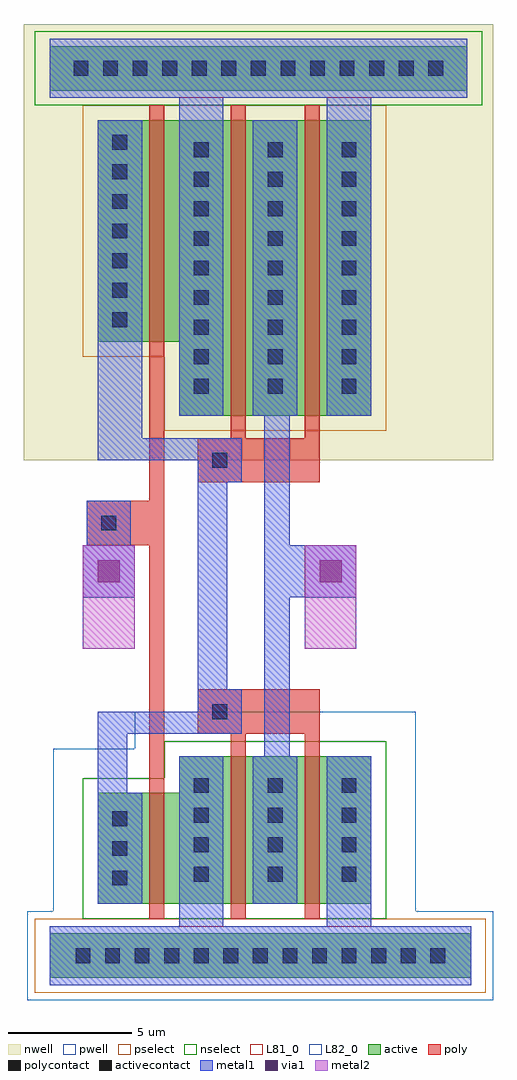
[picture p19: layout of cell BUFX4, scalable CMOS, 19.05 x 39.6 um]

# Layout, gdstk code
import gdstk
lib = gdstk.Library(unit=1e-6, precision=1e-09)
def R(c, l, rs):  # rectangles x0, y0, x1, y1
    for r in rs: c.add(gdstk.rectangle(r[:2], r[2:], *l))
def A(c, l, x, y, w, h, nx, ny, dx, dy):  # array of equal rectangles
    R(c, l, [(x+i*dx, y+j*dy, x+i*dx+w, y+j*dy+h) for i in range(nx) for j in range(ny)])
pwell = (41, 0)
nwell = (42, 0)
active = (43, 0)
pselect = (44, 0)
nselect = (45, 0)
poly = (46, 0)
polycontact = (47, 0)
activecontact = (48, 0)
metal1 = (49, 0)
via1 = (50, 0)
metal2 = (51, 0)
L81_0 = (81, 0)
L82_0 = (82, 0)

bufx4 = lib.new_cell('BUFX4')
R(bufx4, pwell, [(-1.8,-1.8,17.1,1.8), (-0.75,1.8,13.95,8.4), (2.55,8.4,13.95,9.9)])
R(bufx4, nwell, [(-1.95,20.1,17.1,37.8)])
R(bufx4, active, [(-0.9,-0.9,16.2,0.9), (1.05,2.1,12.15,6.6), (4.35,6.6,12.15,8.1), (4.35,21.9,12.15,24.9), (1.05,24.9,12.15,33.9), (-0.9,35.1,16.05,36.9)])
R(bufx4, pselect, [(-1.5,-1.5,16.8,1.5), (3.75,21.3,12.75,24.3), (0.45,24.3,12.75,34.5)])
R(bufx4, nselect, [(0.45,1.5,12.75,7.2), (3.75,7.2,12.75,8.7), (-1.5,34.5,16.65,37.5)])
R(bufx4, poly, [(3.15,1.5,3.75,16.65), (6.45,1.5,7.05,9), (9.45,1.5,10.05,9), (5.1,9,10.05,10.8), (0.6,16.65,3.75,18.45), (3.15,18.45,3.75,34.5), (5.1,19.2,10.05,21), (6.45,21,7.05,34.5), (9.45,21,10.05,34.5)])
R(bufx4, polycontact, [(5.7,9.6,6.3,10.2), (1.2,17.25,1.8,17.85), (5.7,19.8,6.3,20.4)])
A(bufx4, activecontact, 0.15, -0.3, 0.6, 0.6, 13, 1, 1.2, 0)
A(bufx4, activecontact, 1.65, 2.85, 0.6, 0.6, 1, 3, 0, 1.2)
A(bufx4, activecontact, 4.95, 3, 0.6, 0.6, 3, 4, 3, 1.2)
A(bufx4, activecontact, 4.95, 22.8, 0.6, 0.6, 3, 9, 3, 1.2)
A(bufx4, activecontact, 1.65, 25.5, 0.6, 0.6, 1, 7, 0, 1.2)
A(bufx4, activecontact, 0.07, 35.7, 0.6, 0.6, 13, 1, 1.2, 0)
R(bufx4, metal1, [(-0.9,-1.2,16.2,1.2), (4.35,1.2,6.15,8.1), (10.35,1.2,12.15,8.1), (1.05,2.1,2.85,6.6), (7.35,2.1,9.15,8.1), (1.05,6.6,2.25,9), (7.8,8.1,8.85,14.55), (1.05,9,6.9,9.9), (5.1,9.9,6.9,10.8), (5.1,10.8,6.3,19.2), (0.45,14.55,2.55,16.65), (7.8,14.55,11.55,16.65), (0.6,16.65,2.4,18.45), (7.8,16.65,8.85,21.9), (5.1,19.2,6.9,20.1), (1.05,20.1,6.9,21), (1.05,21,2.85,33.9), (4.35,21.9,6.15,34.8), (7.35,21.9,9.15,33.9), (10.35,21.9,12.15,34.8), (-0.9,34.8,16.05,37.2)])
R(bufx4, via1, [(1.05,15.15,1.95,16.05), (10.05,15.15,10.95,16.05)])
R(bufx4, metal2, [(0.45,12.45,2.55,16.65), (9.45,12.45,11.55,16.65)])
R(bufx4, L81_0, [(-0.9,-1.2,16.2,1.2), (-0.9,34.8,16.05,37.2)])
R(bufx4, L82_0, [(0.45,12.45,2.55,14.55), (9.45,12.45,11.55,14.55)])

lib.write_gds('BUFX4.gds')
